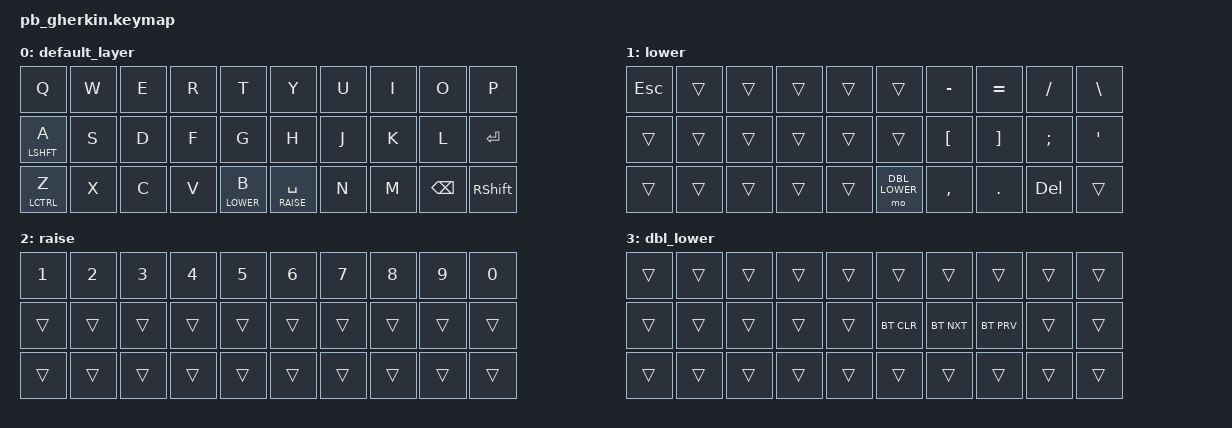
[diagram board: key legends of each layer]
#include <behaviors.dtsi>
#include <dt-bindings/zmk/keys.h>
#include <dt-bindings/zmk/bt.h>

#define DEFAULT 0
#define LOWER 1
#define RAISE 2
#define DBL_LOWER 3

/ {
	keymap {
		compatible = "zmk,keymap";

		default_layer {
				// ------------------------------------------------------------------------------------------
				// |  Q   |  W   |  E   |  R   |  T   		|   Y   	|  U    |  I   |  O   	|   P   	|
				// |  A   |  S   |  D   |  F   |  G   		|   H   	|  J    |  K   |  L   	|   ENTER   |
				// |  Z   |  X   |  C   |  V   |  LOWER B   |   SPACE   |  N    |  M   |  BSPC  |   RSHFT   |
			bindings = <
				&kp Q   	&kp W &kp E &kp R &kp T  		&kp Y   		&kp U  &kp I    &kp O    &kp P    
				&lt LSHFT A &kp S &kp D &kp F &kp G  		&kp H   		&kp J  &kp K    &kp L    &kp ENTER 
				&lt LCTRL Z &kp X &kp C &kp V &lt LOWER B  	&lt RAISE SPACE &kp N  &kp M 	&kp BSPC &kp RSHFT 
			>;
		};

		lower {
				// --------------------------------------------------------------------------
				// |  Q   |  W   |  E   |  R   |  T   |   Y   |  U    |  I   |  O   |   P   |
				// |  A   |  S   |  D   |  F   |  G   |   H   |  J    |  K   |  L   |   '   |
				// |  Z   |  X   |  C   |  V   |  B   |   DBL_LOWER   |  ,    |  .   |  RSHFT   |   RAISE   |
			bindings = <
				&kp ESC    &trans &trans &trans &trans  &trans   &kp MINUS  &kp EQUAL    &kp FSLH   &kp BSLH    
				&trans    &trans &trans &trans &trans  &trans   &kp LBKT   &kp RBKT    &kp SEMI   &kp APOS 
				&trans    &trans &trans &trans &trans  &mo DBL_LOWER  &kp COMMA  &kp PERIOD &kp DEL &trans 
			>;
		};

		raise {
				// --------------------------------------------------------------------------
				// |  Q   |  W   |  E   |  R   |  T   |   Y   |  U    |  I   |  O   |   P   |
				// |  A   |  S   |  D   |  F   |  G   |   H   |  J    |  K   |  L   |   ENTER   |
				// |  Z   |  X   |  C   |  V   |  B   |   SPACE   |  N    |  M   |  RSHFT   |   RAISE   |
			bindings = <
				&kp N1    &kp N2 &kp N3 &kp N4 &kp N5  &kp N6   &kp N7  &kp N8    &kp N9   &kp N0    
				&trans    &trans &trans &trans &trans  &trans   &trans  &trans    &trans    &trans 
				&trans    &trans &trans &trans &trans  &trans  &trans  &trans &trans &trans 
			>;
		};
		
		dbl_lower {
				// --------------------------------------------------------------------------
				// |  Q   |  W   |  E   |  R   |  T   |   Y   |  U    |  I   |  O   |   P   |
				// |  A   |  S   |  D   |  F   |  G   |   H   |  J    |  K   |  L   |   ENTER   |
				// |  Z   |  X   |  C   |  V   |  B   |   SPACE   |  N    |  M   |  RSHFT   |   RAISE   |
			bindings = <
				&trans    &trans &trans &trans &trans  &trans   &trans  &trans    &trans   &trans    
				&trans    &trans &trans &trans &trans  &bt BT_CLR   &bt BT_NXT  &bt BT_PRV    &trans    &trans 
				&trans    &trans &trans &trans &trans  &trans   &trans  &trans 	  &trans &trans 
			>;
		};
	};
};
